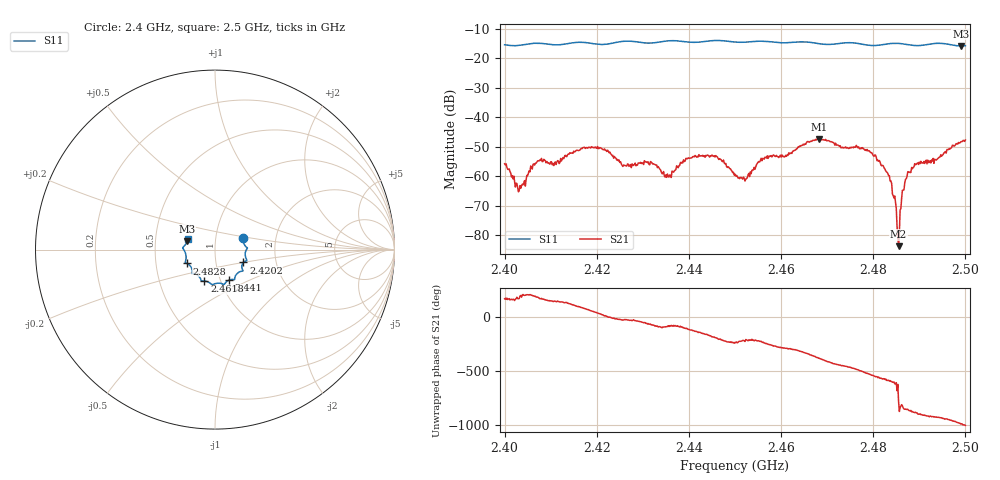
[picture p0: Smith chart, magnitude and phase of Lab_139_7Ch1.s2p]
# Hz S RI R 50
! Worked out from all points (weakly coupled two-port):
!   601 points, 2.4 GHz to 2.5 GHz, reference 50 ohm
!   highest |S21| = -47.37 dB at 2.4683 GHz (marker M1); lowest = -83.8 dB at 2.4855 GHz (marker M2)
!   lowest |S11| = -15.8 dB at 2.499 GHz (marker M3), VSWR 1.39, Z = 36.4 + j3.47 ohm
!   |S11| at or under -10 dB: start of sweep to end of sweep
!   S12 and S22 are empty: the file has one direction only
!   S11 on the Smith chart (normalised r, x): 2.4 GHz: 1.36, +0.18; 2.4202 GHz: 1.36, -0.20; 2.441 GHz: 1.10, -0.39; 2.4618 GHz: 0.84, -0.30; 2.4828 GHz: 0.72, -0.11; 2.5 GHz: 0.73, +0.09
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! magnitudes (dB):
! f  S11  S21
! 2.4 GHz  -15.4  -55.8
! 2.4033 GHz  -15.5  -63.2
! 2.4075 GHz  -14.9  -54.8
! 2.4167 GHz  -14.5  -50.6
! 2.4202 GHz  -15.2  -49.9
! 2.426 GHz  -14.2  -56.3
! 2.4333 GHz  -14.5  -56.7
! 2.4357 GHz  -14.0  -60.3
! 2.441 GHz  -14.6  -53.3
! 2.4457 GHz  -13.9  -53.5
! 2.45 GHz  -14.5  -59.3
! 2.4618 GHz  -14.6  -52.5
! 2.4667 GHz  -14.6  -48.2
! 2.4683 GHz  -15.0  -47.4
! 2.4792 GHz  -15.6  -51.4
! 2.4828 GHz  -15.1  -58.5
! 2.4833 GHz  -15.0  -59.8
! 2.4855 GHz  -14.9  -83.8
! 2.4867 GHz  -15.1  -64.6
! 2.488 GHz  -15.5  -58.8
! 2.499 GHz  -15.8  -48.3
! 2.5 GHz  -15.7  -47.7
